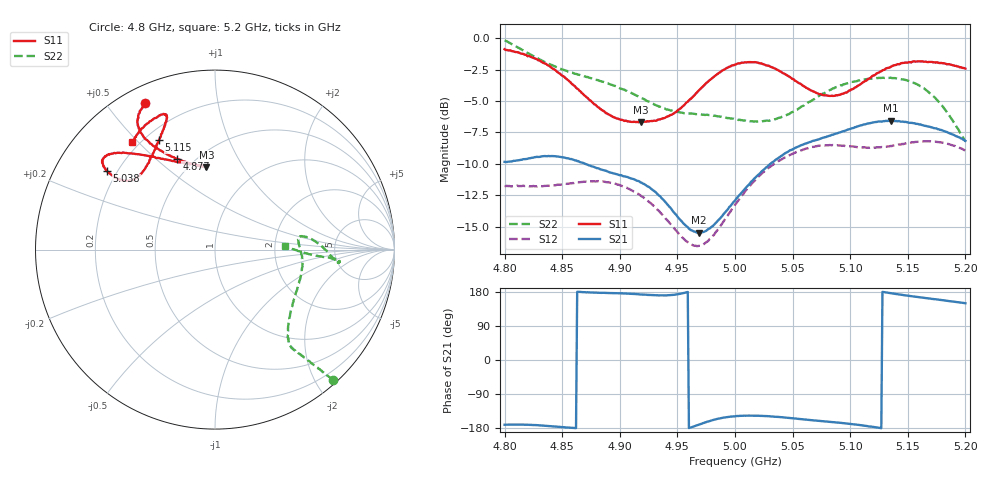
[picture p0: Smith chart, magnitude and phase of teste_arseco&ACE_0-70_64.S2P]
! Network Analyzer HP8722D
! Hewlett-Packard
! Data name: Linha & Wilkinson
! Saver's name: Rodrigo Anjos
! Comments: Teste da utilização de aquisição
! continua pelo VNA HP8722D
! Time and date: 8/5/2025 13:17
!  Frequency  S11  S21  S12  S22
# HZ  S  MA R 50
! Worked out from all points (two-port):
!   401 points, 4.8 GHz to 5.2 GHz, reference 50 ohm
!   highest |S21| = -6.56 dB at 5.135 GHz (marker M1); lowest = -15.5 dB at 4.969 GHz (marker M2)
!   |S21| within 3 dB of the highest: 4.821 GHz to 4.855 GHz (34.43 MHz wide, 0.712 % of centre); 5.037 GHz to end of sweep
!   lowest |S11| = -6.7 dB at 4.918 GHz (marker M3), VSWR 2.73, Z = 30 + j35.2 ohm
!   |S11| at or under -10 dB: nowhere
!   |S22| runs from -8.2 to -0.2 dB; largest |S21 - S12| = 0.83
!   S11 on the Smith chart (normalised r, x): 4.8 GHz: 0.07, +0.63; 4.877 GHz: 0.40, +0.59; 5.038 GHz: 0.16, +0.32; 5.115 GHz: 0.25, +0.58; 5.2 GHz: 0.17, +0.48
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4.8e9  0.9043 115.5  0.3222 -170.8  0.2583 -86.3  0.9802 -47.8
4.817e9  0.8628 119.7  0.3302 -170.8  0.2582 -82.6  0.8904 -48.8
4.836e9  0.7903 122.1  0.3394 -173.6  0.2588 -76.4  0.8012 -50.0
4.867e9  0.6056 117.4  0.3201 179.2  0.2678 -67.7  0.7099 -51.7
4.877e9  0.5508 112.9  0.3083 177.9  0.2697 -66.8  0.6891 -52.0
4.899e9  0.4772 101.1  0.286 175.9  0.2614 -67.2  0.6374 -50.3
4.918e9  0.4633 95.9  0.2668 172.9  0.2365 -69.2  0.5805 -45.1
4.934e9  0.4746 99.6  0.2364 170.6  0.2054 -69.8  0.5347 -36.9
4.958e9  0.5554 116.5  0.1784 178.7  0.1554 -58.9  0.5021 -21.2
4.969e9  0.6226 123.7  0.1682 -170.1  0.1494 -46.7  0.4987 -14.7
4.981e9  0.699 130.1  0.1793 -158.3  0.1638 -33.1  0.4917 -8.5
5e9  0.7853 137.1  0.2258 -148.6  0.2175 -21.6  0.4755 -0.3
5.018e9  0.8022 141.6  0.2797 -147.0  0.2744 -18.8  0.4671 5.8
5.038e9  0.7435 144.0  0.3347 -150.3  0.3254 -19.0  0.4823 8.7
5.067e9  0.6173 141.7  0.3898 -158.9  0.3694 -21.3  0.5664 4.1
5.088e9  0.5937 132.5  0.4181 -164.8  0.3743 -24.4  0.6396 -2.3
5.115e9  0.6858 117.0  0.4576 -174.5  0.3663 -27.4  0.6892 -6.0
5.134e9  0.7644 110.7  0.4683 176.9  0.3714 -29.5  0.6955 -5.4
5.135e9  0.7682 110.7  0.47 176.3  0.3727 -29.5  0.6971 -5.4
5.161e9  0.8083 112.1  0.4542 165.3  0.3884 -35.9  0.6442 -4.1
5.179e9  0.7977 118.4  0.4317 158.2  0.3849 -41.6  0.5434 -3.1
5.2e9  0.7576 127.4  0.3905 149.7  0.3581 -47.3  0.3879 3.2
